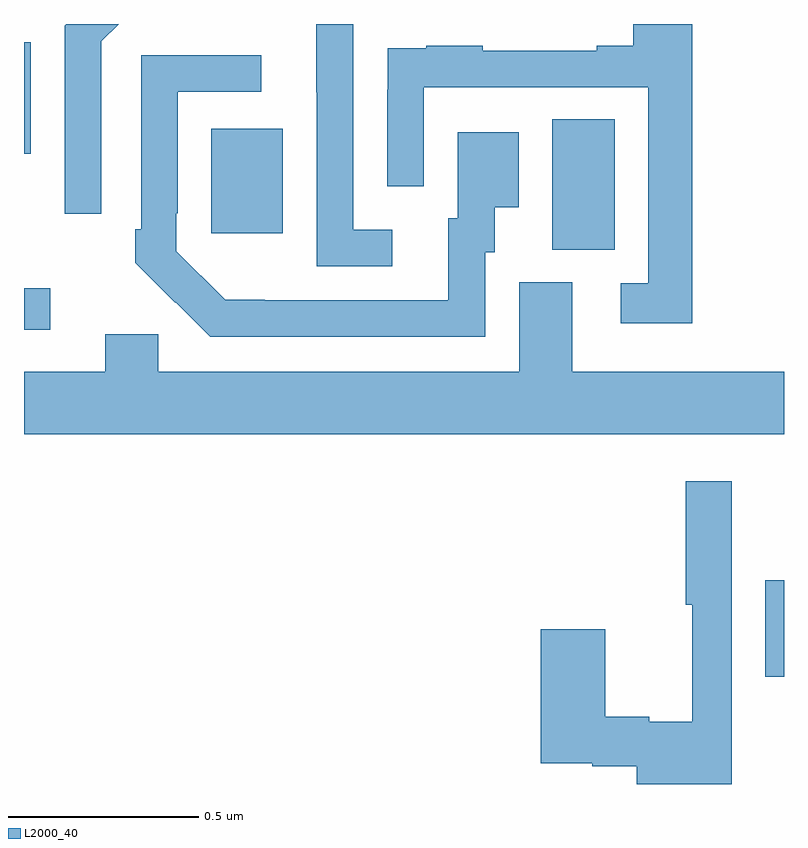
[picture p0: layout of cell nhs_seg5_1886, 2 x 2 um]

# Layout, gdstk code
import gdstk
lib = gdstk.Library(unit=1e-6, precision=1e-09)
def R(c, l, rs):  # rectangles x0, y0, x1, y1
    for r in rs: c.add(gdstk.rectangle(r[:2], r[2:], *l))
def P(c, l, *ps):  # polygons
    for p in ps: c.add(gdstk.Polygon(p, *l))
L2000_40 = (2000, 40)

nhs_seg5_1886 = lib.new_cell('nhs_seg5_1886')
R(nhs_seg5_1886, L2000_40, [(137.951,896.081,138,896.335), (136,896.994,136.069,897.103), (137.39,897.205,137.554,897.548), (136.493,897.249,136.681,897.523), (136,897.458,136.018,897.751)])
P(nhs_seg5_1886, L2000_40, [(136.203,897.753),(136.249,897.799),(136.111,897.799),(136.107,897.795),(136.107,897.3),(136.203,897.3)],
  [(136.969,897.258),(136.866,897.258),(136.866,897.799),(136.769,897.799),(136.769,897.619),(136.77,897.619),(136.77,897.162),(136.969,897.162)],
  [(137.759,897.799),(137.603,897.799),(137.603,897.742),(137.507,897.742),(137.507,897.729),(137.207,897.729),(137.207,897.742),(137.059,897.742),(137.059,897.735),(136.957,897.735),(136.957,897.626),(136.956,897.626),(136.956,897.372),(137.052,897.372),(137.052,897.633),(137.643,897.633),(137.643,897.117),(137.571,897.117),(137.571,897.012),(137.759,897.012)],
  [(137.214,897.198),(137.239,897.198),(137.239,897.317),(137.302,897.317),(137.302,897.514),(137.141,897.514),(137.141,897.288),(137.117,897.288),(137.117,897.072),(136.633,897.072),(136.633,897.073),(136.53,897.073),(136.401,897.201),(136.401,897.301),(136.404,897.301),(136.404,897.621),(136.624,897.621),(136.624,897.717),(136.308,897.717),(136.308,897.259),(136.293,897.259),(136.293,897.171),(136.398,897.066),(136.399,897.067),(136.49,896.976),(137.214,896.976)],
  [(138,896.884),(137.443,896.884),(137.443,897.12),(137.303,897.12),(137.303,896.884),(136.353,896.884),(136.353,896.982),(136.214,896.982),(136.214,896.884),(136,896.884),(136,896.72),(138,896.72)],
  [(137.863,896.596),(137.742,896.596),(137.742,896.271),(137.759,896.271),(137.759,895.963),(137.645,895.963),(137.645,895.976),(137.53,895.976),(137.53,896.206),(137.36,896.206),(137.36,895.853),(137.496,895.853),(137.496,895.846),(137.612,895.846),(137.612,895.799),(137.863,895.799)])

lib.write_gds('nhs_seg5_1886.gds')
